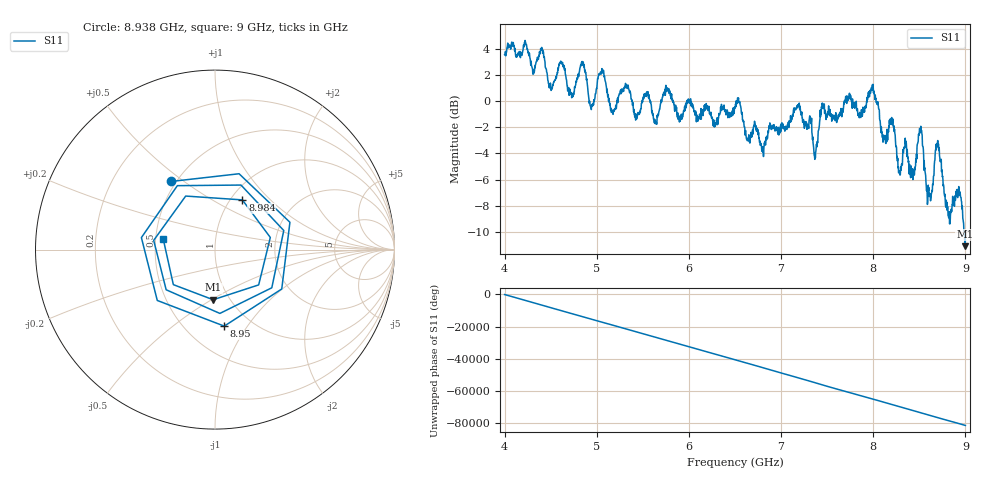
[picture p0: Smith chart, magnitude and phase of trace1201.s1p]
! Created with skrf 1.8.0 (http://scikit-rf.org).
# Hz S RI R 50.0
!freq ReS11 ImS11
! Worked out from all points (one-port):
!   1601 points, 4 GHz to 9 GHz, reference 50 ohm
!   lowest |S11| = -11.1 dB at 8.994 GHz (marker M1), VSWR 1.78, Z = 42 - j25.4 ohm
!   |S11| at or under -10 dB: 8.983986 GHz to end of sweep
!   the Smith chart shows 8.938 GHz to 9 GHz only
!   S11 on the Smith chart (normalised r, x): 8.938 GHz: 0.47, +0.45; 8.95 GHz: 0.75, -0.79; 8.984 GHz: 1.13, +0.70; 9 GHz: 0.55, +0.07
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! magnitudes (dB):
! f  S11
! 4 GHz  3.5
! 4.625 GHz  2.8
! 4.725 GHz  0.6
! 4.85 GHz  2.8
! 4.941 GHz  -0.7
! 5.05 GHz  2.1
! 5.166 GHz  -0.8
! 5.25 GHz  0.5
! 5.875 GHz  -1.2
! 6.5 GHz  -0.5
! 6.8 GHz  -3.9
! 7.125 GHz  -1.0
! 7.372 GHz  -4.3
! 7.45 GHz  -0.2
! 7.75 GHz  0.2
! 7.997 GHz  1.3
! 8.281 GHz  -5.3
! 8.375 GHz  -4.3
! 8.428 GHz  -5.5
! 8.509 GHz  -2.1
! 8.603 GHz  -6.6
! 8.697 GHz  -3.2
! 8.809 GHz  -8.1
! 8.938 GHz  -6.9
! 8.95 GHz  -7.3
! 8.984 GHz  -10.0
! 8.994 GHz  -11.1
! 9 GHz  -10.6
